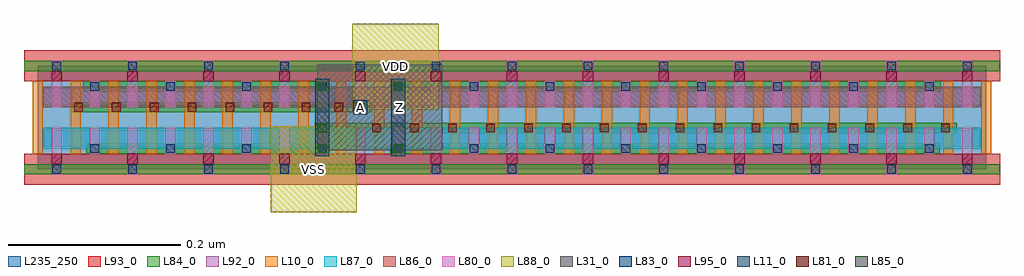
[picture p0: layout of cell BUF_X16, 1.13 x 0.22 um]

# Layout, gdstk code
import gdstk
lib = gdstk.Library(unit=1e-6, precision=1e-09)
def R(c, l, rs):  # rectangles x0, y0, x1, y1
    for r in rs: c.add(gdstk.rectangle(r[:2], r[2:], *l))
def A(c, l, x, y, w, h, nx, ny, dx, dy):  # array of equal rectangles
    R(c, l, [(x+i*dx, y+j*dy, x+i*dx+w, y+j*dy+h) for i in range(nx) for j in range(ny)])
L10_0 = (10, 0)
L11_0 = (11, 0)
L31_0 = (31, 0)
L80_0 = (80, 0)
L81_0 = (81, 0)
L83_0 = (83, 0)
L84_0 = (84, 0)
L85_0 = (85, 0)
L86_0 = (86, 0)
L87_0 = (87, 0)
L88_0 = (88, 0)
L92_0 = (92, 0)
L93_0 = (93, 0)
L95_0 = (95, 0)
L235_250 = (235, 250)

buf_x16 = lib.new_cell('BUF_X16')
A(buf_x16, L10_0, -0.006, 0.018, 0.012, 0.084, 26, 1, 0.044, 0)
R(buf_x16, L11_0, [(0.322,0.015,0.338,0.105), (0.41,0.015,0.426,0.105), (0.366,0.064,0.382,0.08)])
R(buf_x16, L31_0, [(0.324,0.022,0.424,0.122), (0.369,0.022,0.469,0.122)])
A(buf_x16, L80_0, 0.016, -0.006, 0.012, 0.054, 13, 2, 0.088, 0.078)
A(buf_x16, L80_0, 0.06, 0.018, 0.012, 0.03, 12, 2, 0.088, 0.054)
A(buf_x16, L81_0, 0.388, 0.043, 0.01, 0.01, 16, 1, 0.044, 0)
A(buf_x16, L81_0, 0.042, 0.067, 0.01, 0.01, 7, 1, 0.044, 0)
R(buf_x16, L81_0, [(0.344,0.067,0.354,0.077)])
A(buf_x16, L83_0, 0.017, -0.005, 0.01, 0.01, 13, 2, 0.088, 0.12)
A(buf_x16, L83_0, 0.061, 0.019, 0.01, 0.01, 12, 2, 0.088, 0.072)
R(buf_x16, L84_0, [(-0.016,-0.006,1.116,0.006), (0.056,0.018,0.338,0.03), (0.409,0.018,1.046,0.03), (0.321,0.042,1.066,0.054), (0.04,0.066,0.388,0.078), (0.053,0.09,0.338,0.102), (0.409,0.09,1.047,0.102), (-0.016,0.114,1.116,0.126)])
R(buf_x16, L85_0, [(0.325,0.019,0.335,0.029), (0.413,0.019,0.423,0.029), (0.325,0.043,0.335,0.053), (0.369,0.067,0.379,0.077), (0.325,0.091,0.335,0.101), (0.413,0.091,0.423,0.101)])
R(buf_x16, L86_0, [(0.006,0.072,1.094,0.096)])
R(buf_x16, L87_0, [(0.006,0.024,1.094,0.048)])
R(buf_x16, L88_0, [(0.27,-0.05,0.37,0.05), (0.365,0.069,0.465,0.169)])
R(buf_x16, L92_0, [(0.007,0.026,1.093,0.046), (0.007,0.074,1.093,0.094)])
R(buf_x16, L93_0, [(-0.016,-0.018,1.116,0.018), (-0.016,0.102,1.116,0.138)])
A(buf_x16, L95_0, 0.016, 0.006, 0.012, 0.012, 13, 2, 0.088, 0.096)
R(buf_x16, L235_250, [(0,0,1.1,0.12)])
buf_x16.add(gdstk.Label('VDD', (0.415,0.119), layer=88, texttype=0))
buf_x16.add(gdstk.Label('VSS', (0.32,0), layer=88, texttype=0))
buf_x16.add(gdstk.Label('A', (0.374,0.072), layer=31, texttype=0))
buf_x16.add(gdstk.Label('Z', (0.419,0.072), layer=31, texttype=0))

lib.write_gds('BUF_X16.gds')
